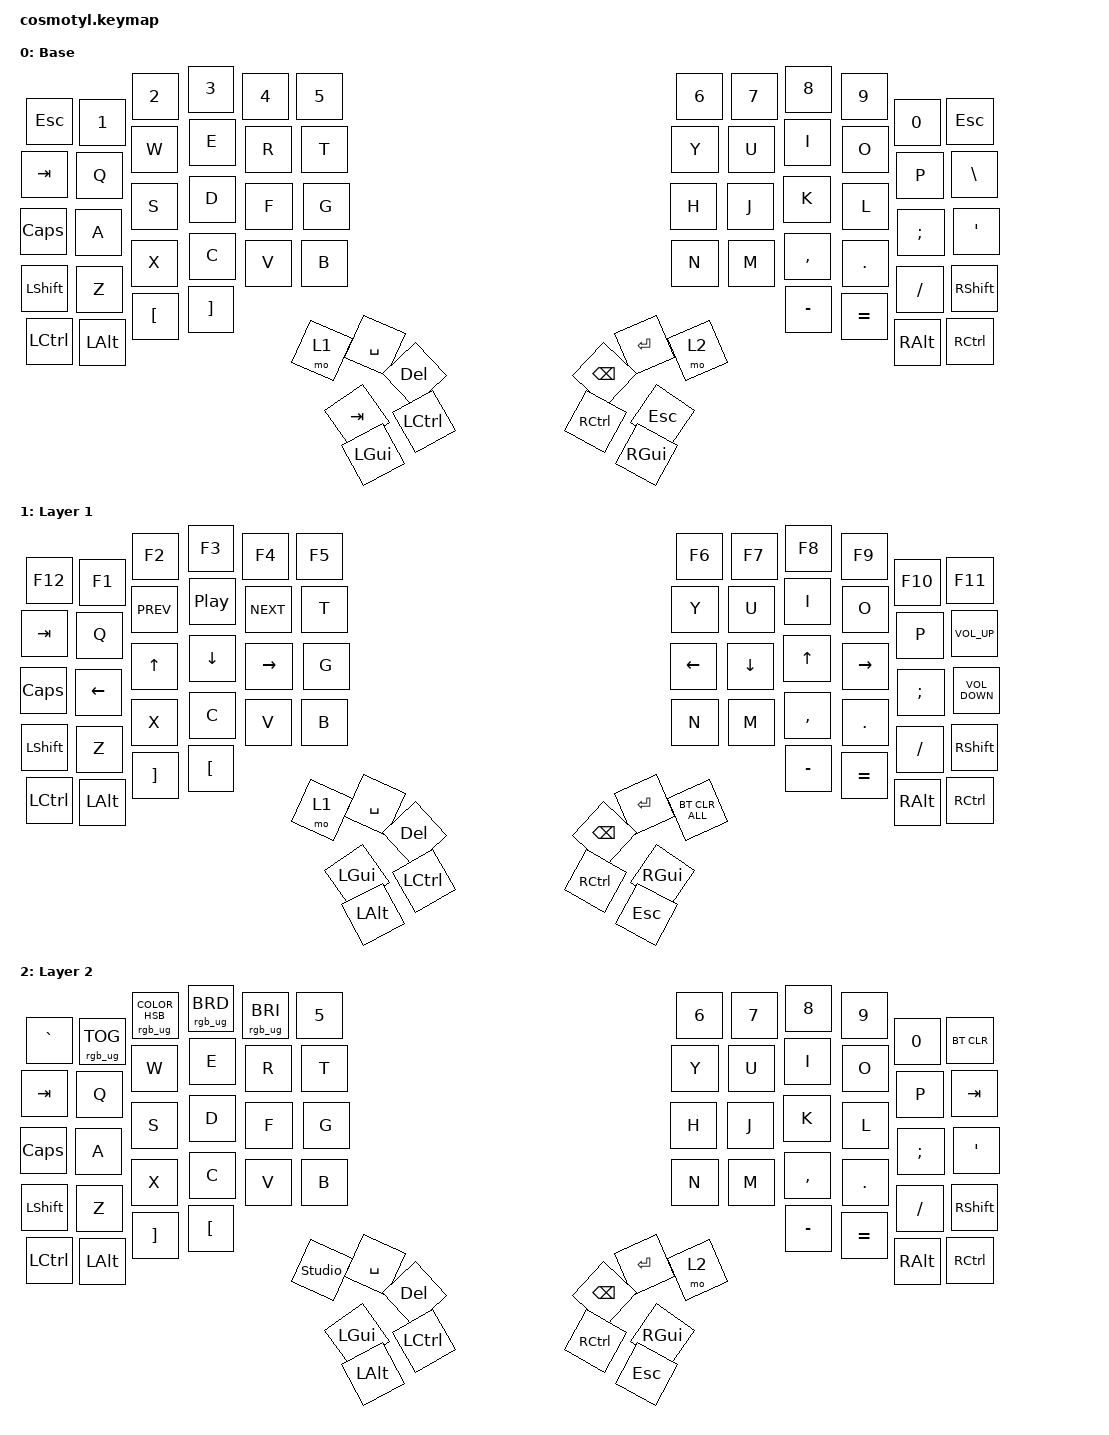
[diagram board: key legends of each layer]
#include <behaviors.dtsi>
#include <dt-bindings/zmk/keys.h>
#include <dt-bindings/zmk/rgb.h>
#include <dt-bindings/zmk/bt.h>

/ {
    keymap {
        compatible = "zmk,keymap";

        default_layer {
            display-name = "Base";
            bindings = <&kp ESC &kp N1 &kp N2 &kp N3 &kp N4 &kp N5 &kp N6 &kp N7 &kp N8 &kp N9 &kp N0 &kp ESC
                &kp TAB &kp Q &kp W &kp E &kp R &kp T &kp Y &kp U &kp I &kp O &kp P &kp BSLH
                &kp CAPS &kp A &kp S &kp D &kp F &kp G &kp H &kp J &kp K &kp L &kp SEMI &kp SQT
                &kp LSHFT &kp Z &kp X &kp C &kp V &kp B &kp N &kp M &kp COMMA &kp DOT &kp FSLH &kp RSHFT
                &kp LCTRL &kp LALT &kp LBKT &kp RBKT           &kp MINUS &kp EQUAL &kp RALT &kp RCTRL
                &kp SPACE &mo 1 &kp DEL &kp TAB &kp LCTRL &kp LGUI
                &kp RETURN &mo 2 &kp BACKSPACE &kp ESC &kp RCTRL &kp RGUI>;
        };

        layer-1 {
            display-name = "Layer 1";
            bindings = <&kp F12 &kp F1 &kp F2 &kp F3 &kp F4 &kp F5 &kp F6 &kp F7 &kp F8 &kp F9 &kp F10 &kp F11
                &kp TAB &kp Q &kp C_PREV &kp C_PLAY_PAUSE &kp C_NEXT &kp T &kp Y &kp U &kp I &kp O &kp P &kp C_VOLUME_UP
                &kp CAPS &kp LEFT_ARROW &kp UP_ARROW &kp DOWN_ARROW &kp RIGHT_ARROW &kp G &kp LEFT_ARROW &kp DOWN_ARROW &kp UP_ARROW &kp RIGHT_ARROW &kp SEMI &kp C_VOLUME_DOWN
                &kp LSHFT &kp Z &kp X &kp C &kp V &kp B &kp N &kp M &kp COMMA &kp DOT &kp FSLH &kp RSHFT
                &kp LCTRL &kp LALT &kp RBKT &kp LBKT           &kp MINUS &kp EQUAL &kp RALT &kp RCTRL
                &kp SPACE &mo 1 &kp DEL &kp LGUI &kp LCTRL &kp LALT
                &kp RETURN &bt BT_CLR_ALL &kp BACKSPACE &kp RGUI &kp RCTRL &kp ESC>;
        };

        layer-2 {
            display-name = "Layer 2";
            bindings = <&kp GRAVE &rgb_ug RGB_TOG &rgb_ug RGB_COLOR_HSB(0, 0, 100) &rgb_ug RGB_BRD &rgb_ug RGB_BRI &kp N5 &kp N6 &kp N7 &kp N8 &kp N9 &kp N0 &bt BT_CLR
                &kp TAB &kp Q &kp W &kp E &kp R &kp T &kp Y &kp U &kp I &kp O &kp P &kp TAB
                &kp CAPS &kp A &kp S &kp D &kp F &kp G &kp H &kp J &kp K &kp L &kp SEMI &kp SQT
                &kp LSHFT &kp Z &kp X &kp C &kp V &kp B &kp N &kp M &kp COMMA &kp DOT &kp FSLH &kp RSHFT
                &kp LCTRL &kp LALT &kp RBKT &kp LBKT           &kp MINUS &kp EQUAL &kp RALT &kp RCTRL
                &kp SPACE &studio_unlock &kp DEL &kp LGUI &kp LCTRL &kp LALT
                &kp RETURN &mo 2 &kp BACKSPACE &kp RGUI &kp RCTRL &kp ESC>;
        };

        extra1 {
            status = "reserved";
        };

        extra2 {
            status = "reserved";
        };

        extra3 {
            status = "reserved";
        };
    };
};
